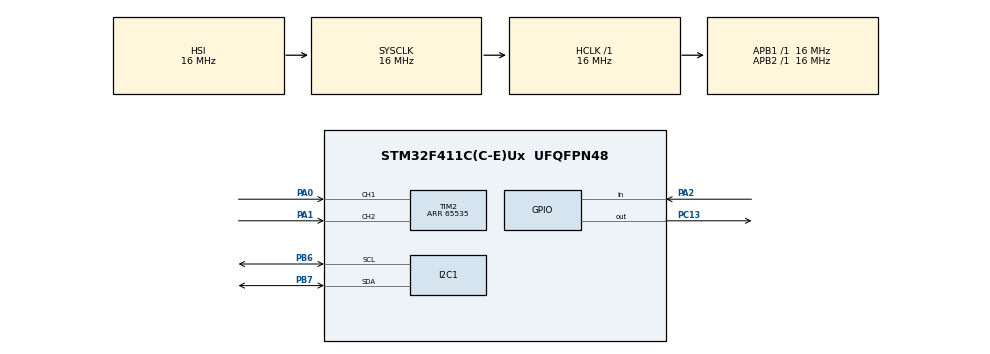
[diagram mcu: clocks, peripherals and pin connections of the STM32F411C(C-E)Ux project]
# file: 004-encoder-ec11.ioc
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I2C1.I2C_Mode=I2C_Fast
Mcu.Family=STM32F4
Mcu.Name=STM32F411C(C-E)Ux
Mcu.Package=UFQFPN48
NVIC.PriorityGroup=NVIC_PRIORITYGROUP_4
PA0-WKUP.Signal=S_TIM2_CH1_ETR
PA1.Signal=S_TIM2_CH2
PA2.GPIO_PuPd=GPIO_PULLUP
PA2.Signal=GPIO_Input
PB6.Mode=I2C
PB6.Signal=I2C1_SCL
PB7.Mode=I2C
PB7.Signal=I2C1_SDA
PC13-ANTI_TAMP.Signal=GPIO_Output
ProjectManager.HeapSize=0x200
ProjectManager.StackSize=0x400
ProjectManager.TargetToolchain=STM32CubeIDE
RCC.AHBFreq_Value=16000000
RCC.APB1Freq_Value=16000000
RCC.APB2Freq_Value=16000000
RCC.CortexFreq_Value=16000000
RCC.HSE_VALUE=25000000
RCC.HSI_VALUE=16000000
RCC.LSE_VALUE=32768
RCC.SYSCLKFreq_VALUE=16000000
RCC.VCOOutputFreq_Value=192000000
SH.S_TIM2_CH1_ETR.0=TIM2_CH1,Encoder_Interface
SH.S_TIM2_CH2.0=TIM2_CH2,Encoder_Interface
TIM2.AutoReloadPreload=TIM_AUTORELOAD_PRELOAD_ENABLE
TIM2.ClockDivision=TIM_CLOCKDIVISION_DIV1
TIM2.EncoderMode=TIM_ENCODERMODE_TI12
TIM2.IC1Filter=0
TIM2.IC1Polarity=TIM_ICPOLARITY_RISING
TIM2.IC1Prescaler=TIM_ICPSC_DIV1
TIM2.IC2Filter=0
TIM2.IC2Polarity=TIM_ICPOLARITY_RISING
TIM2.IC2Prescaler=TIM_ICPSC_DIV1
TIM2.Period=65535
board=custom

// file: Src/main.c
/* USER CODE BEGIN Header */
/**
  ******************************************************************************
  * @file           : main.c
  * @brief          : EC11 Encoder Test
  ******************************************************************************
  * @attention
  * Copyright (c) 2026 STMicroelectronics.
  * All rights reserved.
  ******************************************************************************
  */
/* USER CODE END Header */

#include "main.h"
#include "i2c.h"
#include "tim.h"
#include "gpio.h"

/* USER CODE BEGIN Includes */
#include <stdio.h>
#include <string.h>
#include "sh1106.h"
#include "sh1106_fonts.h"
#include "encoder_EC11.h"
/* USER CODE END Includes */

/* USER CODE BEGIN PD */
#define UPDATE_DELAY_MS 200
/* USER CODE END PD */

/* USER CODE BEGIN PM */
#define ENC_READ()       ((uint16_t)(__HAL_TIM_GET_COUNTER(&htim2)))
#define ENC_RESET()      (__HAL_TIM_SET_COUNTER(&htim2, 0))
#define ENC_BTN_READ()   HAL_GPIO_ReadPin(GPIOA, GPIO_PIN_2)
#define LED_TOGGLE()     HAL_GPIO_TogglePin(GPIOC, GPIO_PIN_13)
/* USER CODE END PM */

/* USER CODE BEGIN PV */
EC11_Encoder_t encoder;

uint32_t last_update = 0;
uint32_t ups_counter = 0;
uint32_t ups_value = 0;
uint32_t last_ups_time = 0;

uint8_t display_dirty = 1;

char display_buf[48];
char temp_buf[16];

/* ASCII scrolling state: starting X position (0..127) */
// static uint8_t ascii_x = 0;
static int16_t ascii_x = 0;

/* printable ASCII from 32 (space) to 126 (~) */
static const char ascii_line[] =
  " !\"#$%&'()*+,-./0123456789:;<=>?@"
  "ABCDEFGHIJKLMNOPQRSTUVWXYZ[\\]^_`"
  "abcdefghijklmnopqrstuvwxyz{|}~";
/* USER CODE END PV */

void SystemClock_Config(void);
/* USER CODE BEGIN PFP */
void Display_Init(void);
void Display_Update(void);
/* USER CODE END PFP */

int main(void)
{

  /* MCU Configuration--------------------------------------------------------*/

  /* Reset of all peripherals, Initializes the Flash interface and the Systick. */
  HAL_Init();

  /* Configure the system clock */
  SystemClock_Config();

  /* Initialize all configured peripherals */
  MX_GPIO_Init();
  MX_I2C1_Init();
  MX_TIM2_Init();
  /* USER CODE BEGIN 2 */

  /* small delay for power and display startup */
  HAL_Delay(50);

  /* initialize oled */
  if (SH1106_Init() != SH1106_OK) {
      /* blink led forever on oled init failure */
      while (1) {
          LED_TOGGLE();
          HAL_Delay(200);
      }
  }

  SH1106_Fill(SH1106_COLOR_BLACK);
  SH1106_UpdateScreen();

  /* initialize encoder driver */
  EC11_Init(&encoder);

  /* start encoder timer */
  HAL_TIM_Encoder_Start(&htim2, TIM_CHANNEL_ALL);
  ENC_RESET();

  last_update = HAL_GetTick();
  last_ups_time = HAL_GetTick();

  /* draw static display layout */
  Display_Init();

  /* USER CODE END 2 */

  /* Infinite loop */
  while (1)
  {

    /* USER CODE BEGIN 3 */
    uint32_t now = HAL_GetTick();

    /* read hardware timer value and get signed diff with wraparound handling */
    int32_t diff = EC11_TimerDiff16(&encoder, ENC_READ());

    /* process encoder rotation through driver */
    if (diff != 0) {
        EC11_ProcessTicks(&encoder, diff);

        /* subtract diff: left rotation moves text left */
        ascii_x += (int16_t)diff;

        // /* normalize into 0..127 range */
        // if (ascii_x < 0) {
            // ascii_x += 128;
        // } else if (ascii_x >= 128) {
            // ascii_x -= 128;
        // }

        display_dirty = 1;
    }

    /* read button and process through driver (use debounce e.g. 50 ms) */
    uint8_t button_raw = (uint8_t)ENC_BTN_READ();
    EC11_ProcessButton(&encoder, button_raw, now, 50);

    /* handle button press event */
    if (encoder.buttonPressed) {
        /* reset encoder and timer */
        EC11_Reset(&encoder);
        ENC_RESET();

        /* reset driver's internal timer baseline */
        encoder.lastTimerValue = 0;

        display_dirty = 1;
    }

    /* update display periodically or when dirty */
    if ((now - last_update) >= UPDATE_DELAY_MS || display_dirty) {
        last_update = now;
        LED_TOGGLE();
        Display_Update();
        display_dirty = 0;
    }

    /* calculate updates per second */
    ups_counter++;
    if ((now - last_ups_time) >= 1000) {
        ups_value = ups_counter;
        ups_counter = 0;
        last_ups_time = now;
        display_dirty = 1;
    }

    /* USER CODE END 3 */
  }
}

void SystemClock_Config(void)
{
  RCC_OscInitTypeDef RCC_OscInitStruct = {0};
  RCC_ClkInitTypeDef RCC_ClkInitStruct = {0};

  /** Configure the main internal regulator output voltage
  */
  __HAL_RCC_PWR_CLK_ENABLE();
  __HAL_PWR_VOLTAGESCALING_CONFIG(PWR_REGULATOR_VOLTAGE_SCALE1);

  /** Initializes the RCC Oscillators according to the specified parameters
  * in the RCC_OscInitTypeDef structure.
  */
  RCC_OscInitStruct.OscillatorType = RCC_OSCILLATORTYPE_HSI;
  RCC_OscInitStruct.HSIState = RCC_HSI_ON;
  RCC_OscInitStruct.HSICalibrationValue = RCC_HSICALIBRATION_DEFAULT;
  RCC_OscInitStruct.PLL.PLLState = RCC_PLL_NONE;
  if (HAL_RCC_OscConfig(&RCC_OscInitStruct) != HAL_OK)
  {
    Error_Handler();
  }

  /** Initializes the CPU, AHB and APB buses clocks
  */
  RCC_ClkInitStruct.ClockType = RCC_CLOCKTYPE_HCLK|RCC_CLOCKTYPE_SYSCLK
                              |RCC_CLOCKTYPE_PCLK1|RCC_CLOCKTYPE_PCLK2;
  RCC_ClkInitStruct.SYSCLKSource = RCC_SYSCLKSOURCE_HSI;
  RCC_ClkInitStruct.AHBCLKDivider = RCC_SYSCLK_DIV1;
  RCC_ClkInitStruct.APB1CLKDivider = RCC_HCLK_DIV1;
  RCC_ClkInitStruct.APB2CLKDivider = RCC_HCLK_DIV1;

  if (HAL_RCC_ClockConfig(&RCC_ClkInitStruct, FLASH_LATENCY_0) != HAL_OK)
  {
    Error_Handler();
  }
}

/* USER CODE BEGIN 4 */

/**
  * @brief initialize static display content
  */
void Display_Init(void)
{
    SH1106_Fill(SH1106_COLOR_BLACK);
    SH1106_DrawRectangle(0, 0, 127, 63, SH1106_COLOR_WHITE);

    SH1106_WriteStringAt(20, 2, "EC11 Encoder", Font_8H, SH1106_COLOR_WHITE);

    /* Second line: static labels for A, B and Step (values updated dynamically) */
    SH1106_WriteStringAt(4, 12, "A:", Font_8H, SH1106_COLOR_WHITE);
    SH1106_WriteStringAt(28,12, "B:", Font_8H, SH1106_COLOR_WHITE);
    SH1106_WriteStringAt(60,12, "Step:", Font_8H, SH1106_COLOR_WHITE);

    /* Third line (y=22) will display ASCII characters (dynamic, scroll by 1px on rotate) */
    /* leave no static label here */

    /* remaining static labels */
    SH1106_WriteStringAt(4, 32, "Dir:", Font_8H, SH1106_COLOR_WHITE);
    SH1106_WriteStringAt(4, 42, "Button:", Font_8H, SH1106_COLOR_WHITE);
    SH1106_WriteStringAt(4, 52, "UPS:", Font_8H, SH1106_COLOR_WHITE);

    SH1106_UpdateScreen();
}

/**
  * @brief update dynamic display content
  */
void Display_Update(void)
{
    /* clear dynamic areas to prevent text artifacts */
    SH1106_FillRectangle(4, 12, 120, 8, SH1106_COLOR_BLACK);   /* A, B, Step area */
    SH1106_FillRectangle(4, 22, 120, 8, SH1106_COLOR_BLACK);   /* ASCII area */
    SH1106_FillRectangle(40, 32, 80, 8, SH1106_COLOR_BLACK);   /* Direction */
    SH1106_FillRectangle(50, 42, 70, 8, SH1106_COLOR_BLACK);   /* Button */
    SH1106_FillRectangle(40, 52, 80, 8, SH1106_COLOR_BLACK);   /* UPS */

    /* gpio diagnostic (encoder input states) */
    uint8_t pa0 = HAL_GPIO_ReadPin(GPIOA, GPIO_PIN_0);
    uint8_t pa1 = HAL_GPIO_ReadPin(GPIOA, GPIO_PIN_1);
    /* write A, B and Step on the same (second) line */
    snprintf(display_buf, sizeof(display_buf), "A:%d B:%d Step:%ld", pa0, pa1, encoder.step);
    SH1106_WriteStringAt(4, 12, display_buf, Font_8H, SH1106_COLOR_WHITE);

    /* ASCII line: draw at ascii_x (shifts by 1 pixel per encoder tick) */
    SH1106_WriteStringAt(ascii_x, 22, ascii_line, Font_8H, SH1106_COLOR_WHITE);

    /* direction */
    const char *dir_text = "---";
    if (encoder.dir == EC11_DIR_CW) {
        dir_text = "CW ";
    } else if (encoder.dir == EC11_DIR_CCW) {
        dir_text = "CCW";
    }
    SH1106_WriteStringAt(40, 32, dir_text, Font_8H, SH1106_COLOR_WHITE);

    /* button state */
    const char *btn_text = (encoder.buttonState == 0) ? "PRESSED " : "RELEASED";
    SH1106_WriteStringAt(50, 42, btn_text, Font_8H, SH1106_COLOR_WHITE);

    /* button press event indicator */
    if (encoder.buttonPressed) {
        SH1106_WriteStringAt(110, 42, "!", Font_8H, SH1106_COLOR_WHITE);
    }

    /* ups */
    snprintf(display_buf, sizeof(display_buf), "%lu", ups_value);
    SH1106_WriteStringAt(40, 52, display_buf, Font_8H, SH1106_COLOR_WHITE);

    /* update screen */
    SH1106_UpdateScreen();
}

/* USER CODE END 4 */

void Error_Handler(void)
{
  __disable_irq();
  while (1) { }
}
